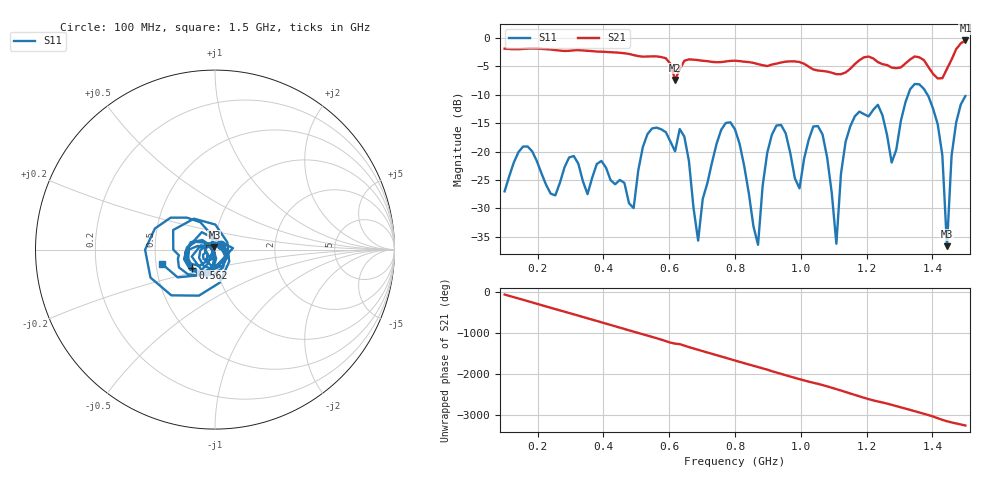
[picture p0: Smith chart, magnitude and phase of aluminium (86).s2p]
! NanoVNA-App
! Date: 2025-09-25 14:55:56
! Start: 100MHz Stop: 1,5GHz Points: 101
! S-Parameter data: F S11 S21 S12 S22
# Hz S RI R 50
!  Frequency  S11_Real  S11_Imag  S21_Real  S21_Imag  S12_Real  S12_Imag  S22_Real  S22_Imag
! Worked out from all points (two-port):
!   101 points, 100 MHz to 1.5 GHz, reference 50 ohm
!   highest |S21| = -0.48 dB at 1.5 GHz (marker M1); lowest = -7.4 dB at 618 MHz (marker M2)
!   |S21| within 3 dB of the highest: start of sweep to 581.5 MHz; 1.461 GHz to end of sweep (the widest 2 of 4)
!   lowest |S11| = -36.6 dB at 1.444 GHz (marker M3), VSWR 1.03, Z = 49.7 + j1.43 ohm
!   |S11| at or under -10 dB: start of sweep to 1.326 GHz; 1.385 GHz to end of sweep
!   S12 and S22 are empty: the file has one direction only
!   S11 on the Smith chart (normalised r, x): 100 MHz: 1.07, +0.06; 562 MHz: 0.76, -0.16; 1.5 GHz: 0.54, -0.09
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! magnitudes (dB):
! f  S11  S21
! 100 MHz  -27.0  -1.9
! 156 MHz  -19.1  -2.0
! 338 MHz  -25.2  -2.2
! 492 MHz  -30.0  -3.0
! 562 MHz  -15.8  -3.3
! 576 MHz  -16.1  -3.4
! 618 MHz  -20.0  -7.4
! 646 MHz  -17.4  -4.1
! 688 MHz  -35.7  -3.9
! 800 MHz  -16.1  -4.0
! 870 MHz  -36.4  -4.6
! 912 MHz  -17.1  -4.7
! 996 MHz  -26.5  -4.3
! 1.038 GHz  -15.6  -5.6
! 1.108 GHz  -36.2  -6.4
! 1.164 GHz  -13.8  -4.6
! 1.276 GHz  -21.9  -5.2
! 1.374 GHz  -9.0  -3.9
! 1.43 GHz  -20.7  -7.1
! 1.444 GHz  -36.6  -5.5
! 1.458 GHz  -20.7  -3.9
! 1.5 GHz  -10.2  -0.5
